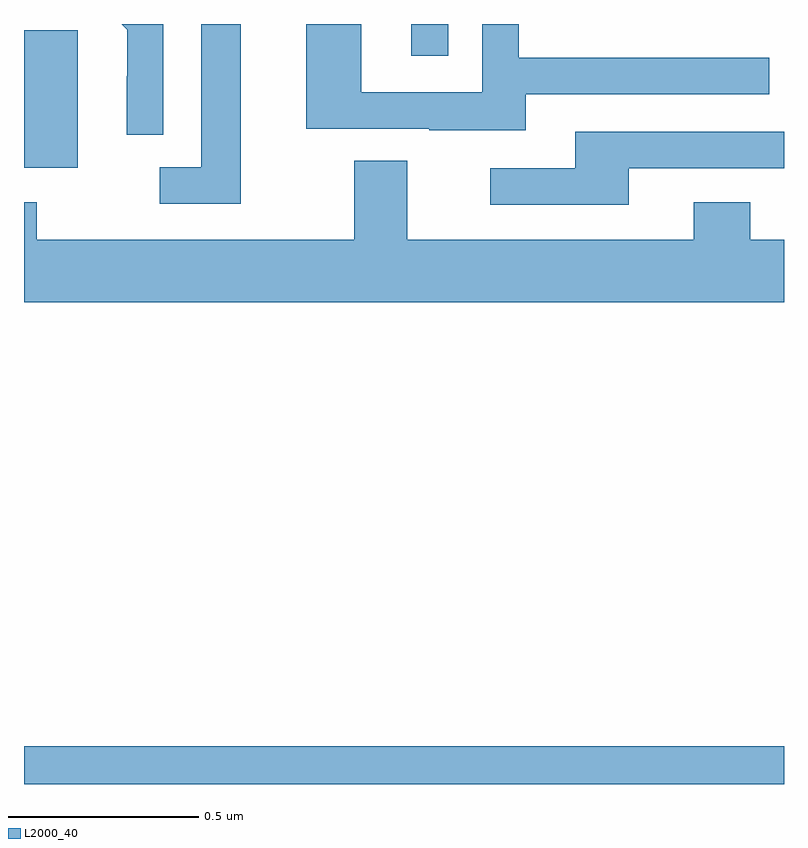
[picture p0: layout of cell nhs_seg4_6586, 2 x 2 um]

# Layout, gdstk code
import gdstk
lib = gdstk.Library(unit=1e-6, precision=1e-09)
def R(c, l, rs):  # rectangles x0, y0, x1, y1
    for r in rs: c.add(gdstk.rectangle(r[:2], r[2:], *l))
def P(c, l, *ps):  # polygons
    for p in ps: c.add(gdstk.Polygon(p, *l))
L2000_40 = (2000, 40)

nhs_seg4_6586 = lib.new_cell('nhs_seg4_6586')
R(nhs_seg4_6586, L2000_40, [(192,780.9,194,781), (192,782.522,192.142,782.883), (193.019,782.817,193.116,782.9)])
P(nhs_seg4_6586, L2000_40, [(192.366,782.9),(192.257,782.9),(192.272,782.885),(192.272,782.762),(192.27,782.762),(192.27,782.608),(192.366,782.608)],
  [(193.321,782.715),(193.961,782.715),(193.961,782.811),(193.302,782.811),(193.302,782.9),(193.206,782.9),(193.206,782.721),(192.888,782.721),(192.888,782.9),(192.743,782.9),(192.743,782.625),(193.067,782.625),(193.067,782.621),(193.321,782.621)],
  [(192.571,782.9),(192.467,782.9),(192.467,782.523),(192.357,782.523),(192.357,782.427),(192.571,782.427)],
  [(193.591,782.52),(194,782.52),(194,782.616),(193.451,782.616),(193.451,782.52),(193.227,782.52),(193.227,782.424),(193.591,782.424)],
  [(194,782.332),(193.911,782.332),(193.911,782.431),(193.763,782.431),(193.763,782.332),(193.009,782.332),(193.009,782.54),(192.869,782.54),(192.869,782.332),(192.033,782.332),(192.033,782.431),(192,782.431),(192,782.168),(194,782.168)])

lib.write_gds('nhs_seg4_6586.gds')
